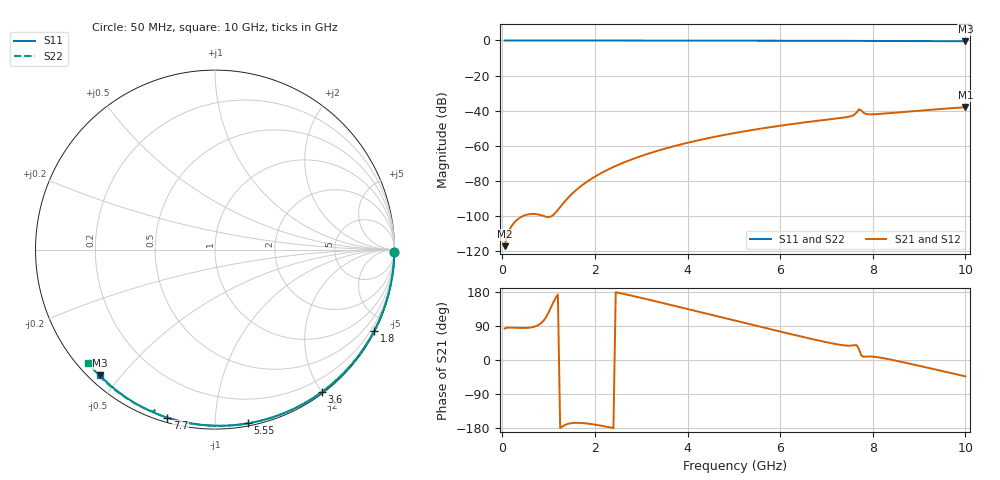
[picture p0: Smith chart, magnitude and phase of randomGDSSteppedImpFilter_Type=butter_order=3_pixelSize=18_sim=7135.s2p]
! freq	dB(S11)	phase(S11)	dB(S12)	phase(S12)
!  dB(S21)	phase(S21)	dB(S22)	phase(S22)
!S-par simulation data
#  GHz  S  DB  R 50
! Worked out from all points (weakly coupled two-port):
!   200 points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, 50 MHz to 10 GHz, reference 50 ohm
!   highest |S21| = -38.03 dB at 10 GHz (marker M1); lowest = -117.2 dB at 50 MHz (marker M2)
!   lowest |S11| = -0.4 dB at 10 GHz (marker M3), VSWR 38.92, Z = 1.53 - j22 ohm
!   |S11| at or under -10 dB: nowhere
!   |S22| runs from -0.5 to 0.0 dB; largest |S21 - S12| = 0
!   S11 on the Smith chart (normalised r, x): 50 MHz: open; 1.8 GHz: 0.04, -4.14; 3.6 GHz: 0.02, -2.00; 5.55 GHz: 0.02, -1.21; 7.7 GHz: 0.02, -0.76; 10 GHz: 0.03, -0.44
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0.05  -0.00 -0.8  -117.18 83.0  -117.18 83.0  -0.00 -0.8
0.9  -0.02 -13.7  -100.08 104.8  -100.08 104.8  -0.02 -14.3
1.75  -0.03 -26.4  -81.93 -166.5  -81.93 -166.5  -0.04 -27.6
1.8  -0.03 -27.2  -80.99 -167.1  -80.99 -167.1  -0.04 -28.4
1.85  -0.04 -27.9  -80.07 -167.8  -80.07 -167.8  -0.04 -29.2
2.2  -0.04 -33.1  -74.65 -174.8  -74.65 -174.8  -0.04 -34.6
2.6  -0.05 -38.9  -69.77 175.0  -69.77 175.0  -0.05 -40.6
2.95  -0.06 -43.9  -66.27 165.3  -66.27 165.3  -0.06 -45.9
3.4  -0.07 -50.3  -62.47 152.3  -62.47 152.3  -0.07 -52.6
3.6  -0.07 -53.1  -60.98 146.4  -60.98 146.4  -0.07 -55.5
4.3  -0.09 -62.8  -56.48 125.6  -56.48 125.6  -0.09 -65.5
5.05  -0.11 -72.8  -52.57 103.2  -52.57 103.2  -0.12 -76.0
5.55  -0.13 -79.3  -50.35 88.3  -50.35 88.3  -0.14 -82.8
6.7  -0.18 -93.8  -46.10 55.0  -46.10 55.0  -0.19 -97.9
7.5  -0.23 -103.5  -43.35 37.8  -43.35 37.8  -0.25 -108.2
7.6  -0.24 -104.7  -42.35 39.2  -42.35 39.2  -0.27 -109.6
7.7  -0.24 -105.9  -39.20 29.3  -39.20 29.3  -0.40 -110.6
7.75  -0.24 -106.5  -39.82 12.1  -39.82 12.1  -0.36 -110.6
7.8  -0.24 -107.1  -41.19 8.5  -41.19 8.5  -0.30 -111.2
7.9  -0.25 -108.3  -42.03 9.4  -42.03 9.4  -0.28 -112.7
8.35  -0.29 -113.6  -41.41 2.0  -41.41 2.0  -0.30 -118.4
10  -0.45 -132.5  -38.03 -43.2  -38.03 -43.2  -0.47 -138.4
